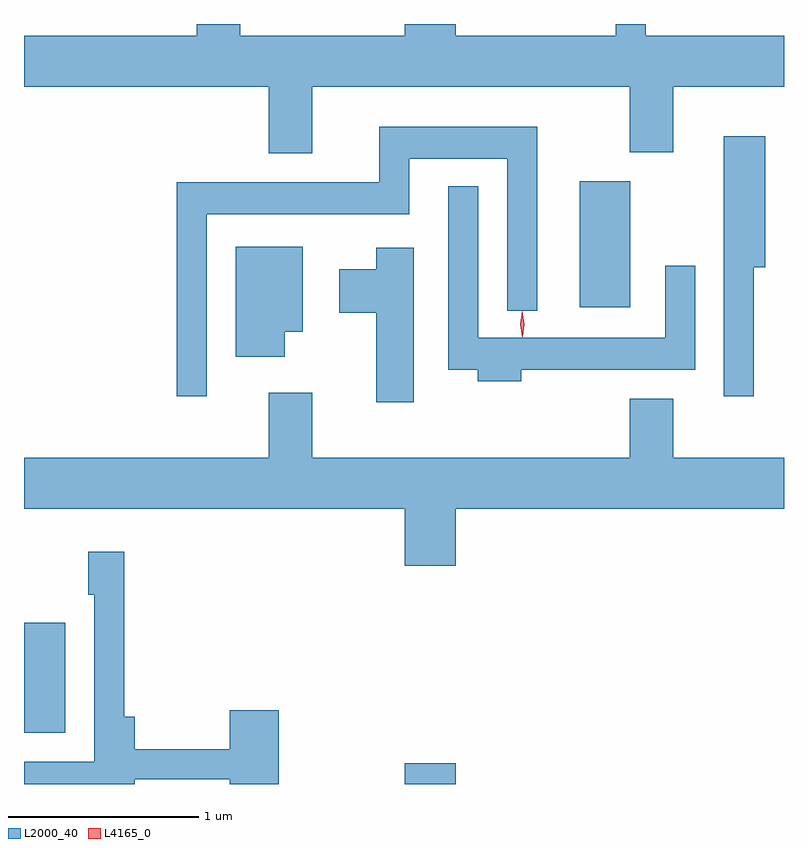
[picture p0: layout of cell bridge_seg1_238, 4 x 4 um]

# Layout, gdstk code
import gdstk
lib = gdstk.Library(unit=1e-6, precision=1e-09)
def R(c, l, rs):  # rectangles x0, y0, x1, y1
    for r in rs: c.add(gdstk.rectangle(r[:2], r[2:], *l))
def P(c, l, *ps):  # polygons
    for p in ps: c.add(gdstk.Polygon(p, *l))
L2000_40 = (2000, 40)
L4165_0 = (4165, 0)

bridge_seg1_238 = lib.new_cell('bridge_seg1_238')
R(bridge_seg1_238, L2000_40, [(834.456,880.366,834.724,880.474), (832.452,880.636,832.669,881.214), (835.376,882.876,835.644,883.539)])
P(bridge_seg1_238, L2000_40, [(833.969,884.036),(835.641,884.036),(835.641,883.691),(835.869,883.691),(835.869,884.036),(836.452,884.036),(836.452,884.304),(835.724,884.304),(835.724,884.366),(835.566,884.366),(835.566,884.304),(834.724,884.304),(834.724,884.366),(834.456,884.366),(834.456,884.304),(833.589,884.304),(833.589,884.366),(833.361,884.366),(833.361,884.304),(832.452,884.304),(832.452,884.036),(833.741,884.036),(833.741,883.686),(833.969,883.686)],
  [(833.414,883.366),(834.479,883.366),(834.479,883.656),(834.996,883.656),(834.996,882.858),(835.154,882.858),(835.154,883.824),(834.321,883.824),(834.321,883.534),(833.256,883.534),(833.256,882.408),(833.414,882.408)],
  [(836.294,883.086),(836.354,883.086),(836.354,883.774),(836.136,883.774),(836.136,882.408),(836.294,882.408)],
  [(835.069,882.546),(835.984,882.546),(835.984,883.093),(835.826,883.093),(835.826,882.714),(834.844,882.714),(834.844,883.513),(834.686,883.513),(834.686,882.546),(834.841,882.546),(834.841,882.486),(835.069,882.486)],
  [(833.824,882.746),(833.919,882.746),(833.919,883.194),(833.566,883.194),(833.566,882.616),(833.824,882.616)],
  [(834.504,883.189),(834.306,883.189),(834.306,883.074),(834.111,883.074),(834.111,882.846),(834.306,882.846),(834.306,882.376),(834.504,882.376)],
  [(834.724,881.816),(836.452,881.816),(836.452,882.084),(835.869,882.084),(835.869,882.394),(835.641,882.394),(835.641,882.084),(833.969,882.084),(833.969,882.424),(833.741,882.424),(833.741,882.084),(832.452,882.084),(832.452,881.816),(834.456,881.816),(834.456,881.516),(834.724,881.516)],
  [(833.034,880.391),(833.536,880.391),(833.536,880.366),(833.794,880.366),(833.794,880.754),(833.536,880.754),(833.536,880.549),(833.034,880.549),(833.034,880.719),(832.979,880.719),(832.979,881.589),(832.791,881.589),(832.791,881.361),(832.821,881.361),(832.821,880.484),(832.452,880.484),(832.452,880.366),(833.034,880.366)])
P(bridge_seg1_238, L4165_0, [(835.075,882.719),(835.075,882.72),(835.065,882.786),(835.074,882.852),(835.075,882.853),(835.075,882.852),(835.085,882.786),(835.076,882.72)],
  [(835.074,882.717),(835.065,882.787),(835.074,882.856),(835.075,882.856),(835.075,882.856),(835.085,882.787),(835.075,882.717),(835.075,882.717)])

lib.write_gds('bridge_seg1_238.gds')
